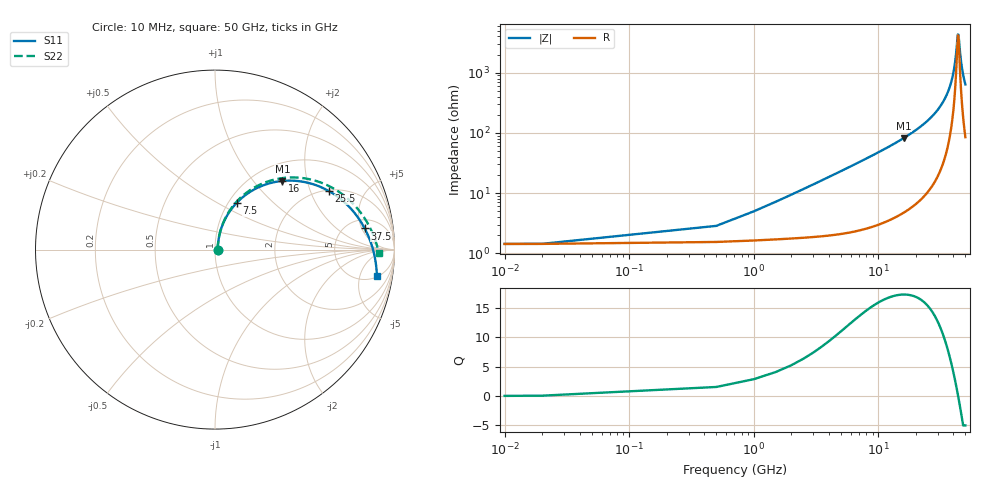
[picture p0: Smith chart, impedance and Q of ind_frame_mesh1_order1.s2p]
! Created with skrf 2.2.0 (http://scikit-rf.org).
# GHz S DB R 50.0
! Port[1] = P1
! Port[2] = P2
!freq dBS11 angS11 dBS21 angS21 dBS12 angS12 dBS22 angS22
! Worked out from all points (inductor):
!   102 points, 10 MHz to 50 GHz, reference 50 ohm
!   read as 1/Y11, port 2 shorted: L = 734 pH near 1.5 GHz
!   highest Q = 17.3 at 16 GHz (marker M1), where L = 815 pH
!   self-resonance near 43.5 GHz
!   S11 on the Smith chart (normalised r, x): 10 MHz: 1.03, +0.00; 7.5 GHz: 1.09, +0.62; 16 GHz: 1.33, +1.43; 25.5 GHz: 2.05, +2.73; 37.5 GHz: 7.01, +5.69; 50 GHz: 5, -9
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0.01  -37.00 1.9  -0.12 -0.0  -0.12 -0.0  -37.00 1.9
0.5  -31.77 52.7  -0.14 -1.5  -0.14 -1.5  -31.76 52.8
1  -27.18 66.1  -0.15 -3.0  -0.15 -3.0  -27.17 66.2
1.5  -24.05 70.9  -0.17 -4.4  -0.17 -4.4  -24.05 71.1
2  -21.72 72.9  -0.19 -5.8  -0.19 -5.8  -21.72 73.1
2.5  -19.87 73.5  -0.21 -7.2  -0.21 -7.2  -19.87 73.8
3.5  -17.06 73.1  -0.26 -9.9  -0.26 -9.9  -17.07 73.5
4.5  -14.96 71.6  -0.33 -12.7  -0.33 -12.7  -14.97 72.2
6  -12.60 68.5  -0.45 -16.7  -0.45 -16.7  -12.61 69.3
7.5  -10.82 65.1  -0.60 -20.6  -0.60 -20.6  -10.82 66.1
8.5  -9.84 62.7  -0.71 -23.2  -0.71 -23.2  -9.85 63.8
10  -8.62 59.1  -0.90 -26.9  -0.90 -26.9  -8.63 60.5
12  -7.31 54.4  -1.18 -31.7  -1.18 -31.7  -7.32 56.1
16  -5.41 45.5  -1.81 -40.6  -1.81 -40.6  -5.42 47.7
17  -5.04 43.4  -1.98 -42.7  -1.98 -42.7  -5.06 45.7
21  -3.86 35.4  -2.71 -50.7  -2.71 -50.7  -3.87 38.3
25.5  -2.92 27.1  -3.58 -58.7  -3.58 -58.7  -2.93 30.7
29.5  -2.31 20.3  -4.39 -65.3  -4.39 -65.3  -2.33 24.6
33.5  -1.85 14.0  -5.22 -71.4  -5.22 -71.4  -1.86 18.9
37.5  -1.49 8.0  -6.07 -77.1  -6.07 -77.1  -1.50 13.6
42  -1.18 1.7  -7.07 -83.1  -7.07 -83.1  -1.19 8.0
50  -0.79 -9.1  -8.97 -93.1  -8.97 -93.1  -0.79 -1.2
